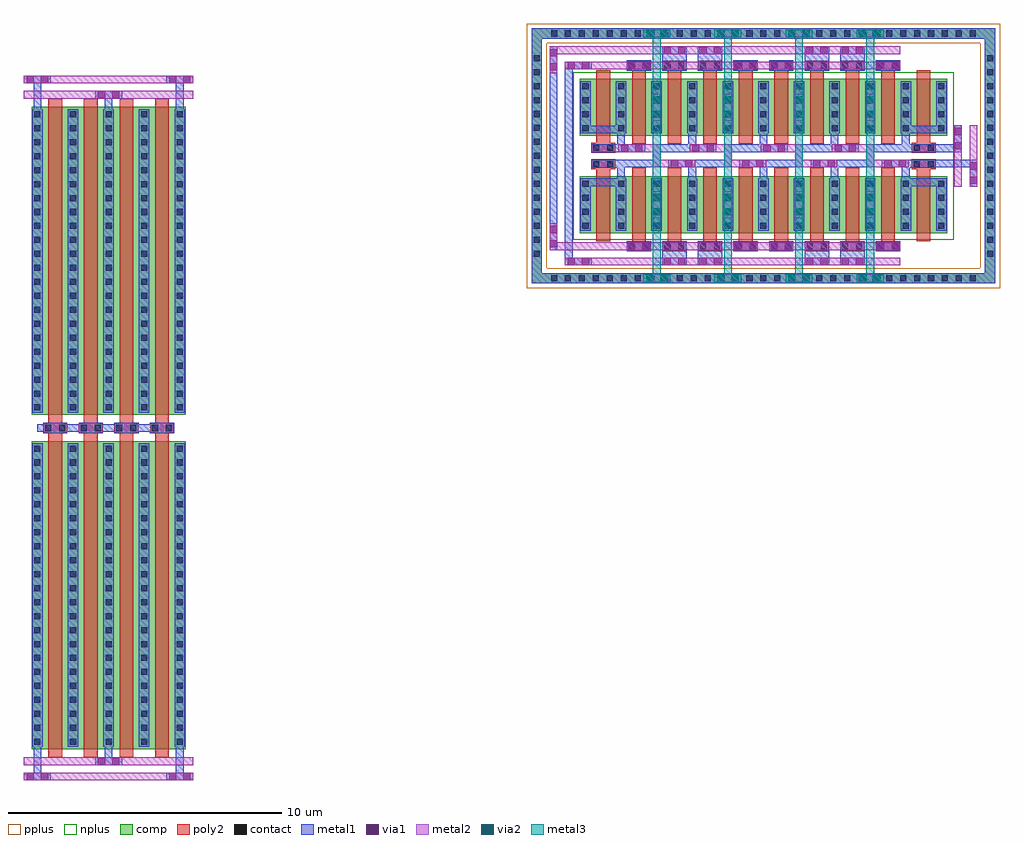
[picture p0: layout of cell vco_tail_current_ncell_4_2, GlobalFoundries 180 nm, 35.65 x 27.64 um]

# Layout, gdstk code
from math import pi, radians
import gdstk
lib = gdstk.Library(unit=1e-6, precision=5e-09)
def R(c, l, rs):  # rectangles x0, y0, x1, y1
    for r in rs: c.add(gdstk.rectangle(r[:2], r[2:], *l))
def A(c, l, x, y, w, h, nx, ny, dx, dy):  # array of equal rectangles
    R(c, l, [(x+i*dx, y+j*dy, x+i*dx+w, y+j*dy+h) for i in range(nx) for j in range(ny)])
comp = (22, 0)
poly2 = (30, 0)
pplus = (31, 0)
nplus = (32, 0)
contact = (33, 0)
metal1 = (34, 0)
via1 = (35, 0)
metal2 = (36, 0)
via2 = (38, 0)
metal3 = (42, 0)

delay_stage_ncell_1_1_1_ = lib.new_cell('delay_stage_ncell_1$1$1$1')
R(delay_stage_ncell_1_1_1_, comp, [(0,0.3,0.42,2.38), (0.42,0.3,1.3,2.38), (1.3,0.3,1.72,2.38)])
R(delay_stage_ncell_1_1_1_, poly2, [(0.61,0,1.11,2.68)])
A(delay_stage_ncell_1_1_1_, contact, 0.1, 0.465, 0.22, 0.22, 1, 4, 0, 0.51)
A(delay_stage_ncell_1_1_1_, contact, 1.4, 0.465, 0.22, 0.22, 1, 4, 0, 0.51)
R(delay_stage_ncell_1_1_1_, metal1, [(0.02,0.385,0.4,2.295), (1.32,0.385,1.7,2.295)])

delay_stage_ncell_1_2_1 = lib.new_cell('delay_stage_ncell_1_2$1')
R(delay_stage_ncell_1_2_1, poly2, [(0.425,3.01,1.295,3.37), (0.425,3.61,1.295,3.97)])
R(delay_stage_ncell_1_2_1, contact, [(0.495,3.08,0.715,3.3), (1.005,3.08,1.225,3.3), (0.495,3.68,0.715,3.9), (1.005,3.68,1.225,3.9)])
R(delay_stage_ncell_1_2_1, metal1, [(0.21,3.065,1.295,3.07), (0.21,3.91,1.295,3.915)])
delay_stage_ncell_1_2_1.add(gdstk.FlexPath([(0.4,2.525),(1.32,2.525)], 0.28, ends="flush", simple_path=True, layer=34, datatype=0))  # metal1
delay_stage_ncell_1_2_1.add(gdstk.FlexPath([(1.295,3.21),(0.21,3.21)], 0.28, ends="flush", simple_path=True, layer=34, datatype=0))  # metal1
delay_stage_ncell_1_2_1.add(gdstk.FlexPath([(0.4,4.455),(1.32,4.455)], 0.28, ends="flush", simple_path=True, layer=34, datatype=0))  # metal1
delay_stage_ncell_1_2_1.add(gdstk.FlexPath([(1.295,3.77),(0.21,3.77)], 0.28, ends="flush", simple_path=True, layer=34, datatype=0))  # metal1
delay_stage_ncell_1_2_1.add(gdstk.Reference(delay_stage_ncell_1_1_1_, (0,3.93)))
delay_stage_ncell_1_2_1.add(gdstk.Reference(delay_stage_ncell_1_1_1_, (0,3.05), x_reflection=True))

delay_stage_ncell_1_1_2_ = lib.new_cell('delay_stage_ncell_1$1$2$1')
R(delay_stage_ncell_1_1_2_, comp, [(0,0.3,0.42,2.38), (0.42,0.3,1.3,2.38), (1.3,0.3,1.72,2.38)])
R(delay_stage_ncell_1_1_2_, poly2, [(0.61,0,1.11,2.68)])
A(delay_stage_ncell_1_1_2_, contact, 0.1, 0.465, 0.22, 0.22, 1, 4, 0, 0.51)
A(delay_stage_ncell_1_1_2_, contact, 1.4, 0.465, 0.22, 0.22, 1, 4, 0, 0.51)
R(delay_stage_ncell_1_1_2_, metal1, [(0.02,0.385,0.4,2.295), (1.32,0.385,1.7,2.295)])

delay_stage_ncell_4_1_1 = lib.new_cell('delay_stage_ncell_4$1$1')
A(delay_stage_ncell_4_1_1, poly2, 0.425, 2.675, 0.87, 0.36, 4, 1, 1.3, 0)
R(delay_stage_ncell_4_1_1, contact, [(0.495,2.745,0.715,2.965), (1.005,2.745,1.225,2.965), (1.795,2.745,2.015,2.965), (2.305,2.745,2.525,2.965), (3.095,2.745,3.315,2.965), (3.605,2.745,3.825,2.965), (4.395,2.745,4.615,2.965), (4.905,2.745,5.125,2.965)])
A(delay_stage_ncell_4_1_1, metal1, 0.415, 2.665, 0.89, 0.38, 4, 1, 1.3, 0)
delay_stage_ncell_4_1_1.add(gdstk.Reference(delay_stage_ncell_1_1_2_, (0,-0.005)))
delay_stage_ncell_4_1_1.add(gdstk.Reference(delay_stage_ncell_1_1_2_, (1.3,-0.005)))
delay_stage_ncell_4_1_1.add(gdstk.Reference(delay_stage_ncell_1_1_2_, (2.6,-0.005)))
delay_stage_ncell_4_1_1.add(gdstk.Reference(delay_stage_ncell_1_1_2_, (3.9,-0.005)))

delay_stage_ncell_4_2_1 = lib.new_cell('delay_stage_ncell_4_2$1')
R(delay_stage_ncell_4_2_1, metal1, [(1.715,0,2.605,0.51), (3.015,0,3.905,0.51), (1.715,7.49,2.605,8), (3.015,7.49,3.905,8)])
R(delay_stage_ncell_4_2_1, via1, [(1.77,0.01,2.03,0.27), (2.29,0.01,2.55,0.27), (3.07,0.01,3.33,0.27), (3.59,0.01,3.85,0.27), (0.47,0.57,0.73,0.83), (0.99,0.57,1.25,0.83), (4.37,0.57,4.63,0.83), (4.89,0.57,5.15,0.83), (1.38,1.83,1.64,2.09), (3.98,1.83,4.24,2.09), (1.38,2.35,1.64,2.61), (3.98,2.35,4.24,2.61), (2.03,3.59,2.29,3.85), (2.55,3.59,2.81,3.85), (4.63,3.59,4.89,3.85), (5.15,3.59,5.41,3.85), (0.21,4.15,0.47,4.41), (0.73,4.15,0.99,4.41), (2.81,4.15,3.07,4.41), (3.33,4.15,3.59,4.41), (1.38,5.39,1.64,5.65), (3.98,5.39,4.24,5.65), (1.38,5.91,1.64,6.17), (3.98,5.91,4.24,6.17), (0.47,7.17,0.73,7.43), (0.99,7.17,1.25,7.43), (4.37,7.17,4.63,7.43), (4.89,7.17,5.15,7.43), (1.77,7.73,2.03,7.99), (2.29,7.73,2.55,7.99), (3.07,7.73,3.33,7.99), (3.59,7.73,3.85,7.99)])
R(delay_stage_ncell_4_2_1, via2, [(1.38,1.83,1.64,2.09), (3.98,1.83,4.24,2.09), (1.38,2.35,1.64,2.61), (3.98,2.35,4.24,2.61), (1.38,5.39,1.64,5.65), (3.98,5.39,4.24,5.65), (1.38,5.91,1.64,6.17), (3.98,5.91,4.24,6.17)])
delay_stage_ncell_4_2_1.add(gdstk.FlexPath([(2.81,4.825),(2.81,4.42)], 0.28, ends="flush", simple_path=True, layer=34, datatype=0))  # metal1
delay_stage_ncell_4_2_1.add(gdstk.FlexPath([(2.81,3.175),(2.81,3.58)], 0.28, ends="flush", simple_path=True, layer=34, datatype=0))  # metal1
delay_stage_ncell_4_2_1.add(gdstk.FlexPath([(0.21,3.175),(0.21,3.58)], 0.28, ends="flush", simple_path=True, layer=34, datatype=0))  # metal1
delay_stage_ncell_4_2_1.add(gdstk.FlexPath([(0.21,4.825),(0.21,4.42)], 0.28, ends="flush", simple_path=True, layer=34, datatype=0))  # metal1
delay_stage_ncell_4_2_1.add(gdstk.FlexPath([(2.91,4.28),(1.51,4.28),(1.51,3.72),(0.07,3.72)], 0.28, ends="flush", simple_path=True, layer=34, datatype=0))  # metal1
delay_stage_ncell_4_2_1.add(gdstk.FlexPath([(1.09,4.28),(0.07,4.28)], 0.28, ends="flush", simple_path=True, layer=34, datatype=0))  # metal1
delay_stage_ncell_4_2_1.add(gdstk.FlexPath([(5.41,3.175),(5.41,3.58)], 0.28, ends="flush", simple_path=True, layer=34, datatype=0))  # metal1
delay_stage_ncell_4_2_1.add(gdstk.FlexPath([(5.55,4.28),(4.11,4.28),(4.11,3.72),(2.71,3.72)], 0.28, ends="flush", simple_path=True, layer=34, datatype=0))  # metal1
delay_stage_ncell_4_2_1.add(gdstk.FlexPath([(3.69,4.28),(2.71,4.28)], 0.28, ends="flush", simple_path=True, layer=34, datatype=0))  # metal1
delay_stage_ncell_4_2_1.add(gdstk.FlexPath([(5.41,4.825),(5.41,4.42)], 0.28, ends="flush", simple_path=True, layer=34, datatype=0))  # metal1
delay_stage_ncell_4_2_1.add(gdstk.FlexPath([(2.81,3.175),(2.81,3.58)], 0.28, ends="flush", simple_path=True, layer=34, datatype=0))  # metal1
delay_stage_ncell_4_2_1.add(gdstk.FlexPath([(5.55,3.72),(4.53,3.72)], 0.28, ends="flush", simple_path=True, layer=34, datatype=0))  # metal1
delay_stage_ncell_4_2_1.add(gdstk.FlexPath([(2.81,4.825),(2.81,4.42)], 0.28, ends="flush", simple_path=True, layer=34, datatype=0))  # metal1
delay_stage_ncell_4_2_1.add(gdstk.FlexPath([(2.91,3.72),(1.93,3.72)], 0.28, ends="flush", simple_path=True, layer=34, datatype=0))  # metal1
delay_stage_ncell_4_2_1.add(gdstk.FlexPath([(5.41,7.3),(0.405,7.3)], 0.28, ends="flush", simple_path=True, layer=36, datatype=0))  # metal2
delay_stage_ncell_4_2_1.add(gdstk.FlexPath([(5.41,7.86),(0.405,7.86)], 0.28, ends="flush", simple_path=True, layer=36, datatype=0))  # metal2
delay_stage_ncell_4_2_1.add(gdstk.FlexPath([(5.41,0.7),(0.405,0.7)], 0.28, ends="flush", simple_path=True, layer=36, datatype=0))  # metal2
delay_stage_ncell_4_2_1.add(gdstk.FlexPath([(5.41,0.14),(0.405,0.14)], 0.28, ends="flush", simple_path=True, layer=36, datatype=0))  # metal2
delay_stage_ncell_4_2_1.add(gdstk.FlexPath([(4.11,5.29),(4.11,6.27)], 0.28, ends="flush", simple_path=True, layer=36, datatype=0))  # metal2
delay_stage_ncell_4_2_1.add(gdstk.FlexPath([(1.51,5.29),(1.51,6.27)], 0.28, ends="flush", simple_path=True, layer=36, datatype=0))  # metal2
delay_stage_ncell_4_2_1.add(gdstk.FlexPath([(4.11,1.73),(4.11,2.71)], 0.28, ends="flush", simple_path=True, layer=36, datatype=0))  # metal2
delay_stage_ncell_4_2_1.add(gdstk.FlexPath([(1.51,1.73),(1.51,2.71)], 0.28, ends="flush", simple_path=True, layer=36, datatype=0))  # metal2
delay_stage_ncell_4_2_1.add(gdstk.FlexPath([(2.91,3.72),(1.51,3.72),(1.51,4.28),(0.11,4.28)], 0.28, ends="flush", simple_path=True, layer=36, datatype=0))  # metal2
delay_stage_ncell_4_2_1.add(gdstk.FlexPath([(5.51,3.72),(4.11,3.72),(4.11,4.28),(2.71,4.28)], 0.28, ends="flush", simple_path=True, layer=36, datatype=0))  # metal2
delay_stage_ncell_4_2_1.add(gdstk.FlexPath([(4.11,5.29),(4.11,6.27)], 0.28, ends="flush", simple_path=True, layer=42, datatype=0))  # metal3
delay_stage_ncell_4_2_1.add(gdstk.FlexPath([(1.51,5.29),(1.51,6.27)], 0.28, ends="flush", simple_path=True, layer=42, datatype=0))  # metal3
delay_stage_ncell_4_2_1.add(gdstk.FlexPath([(4.11,1.73),(4.11,2.71)], 0.28, ends="flush", simple_path=True, layer=42, datatype=0))  # metal3
delay_stage_ncell_4_2_1.add(gdstk.FlexPath([(1.51,1.73),(1.51,2.71)], 0.28, ends="flush", simple_path=True, layer=42, datatype=0))  # metal3
delay_stage_ncell_4_2_1.add(gdstk.Reference(delay_stage_ncell_4_1_1, (0,4.445)))
delay_stage_ncell_4_2_1.add(gdstk.Reference(delay_stage_ncell_4_1_1, (0,3.555), x_reflection=True))

delay_stage_ncell_top = lib.new_cell('delay_stage_ncell_top')
R(delay_stage_ncell_top, nplus, [(1.69,1.77,15.59,7.89)])
A(delay_stage_ncell_top, contact, 0.88, 0.25, 0.22, 0.22, 31, 2, 0.51, 8.94)
A(delay_stage_ncell_top, contact, 0.25, 1.15, 0.22, 0.22, 1, 15, 0, 0.51)
A(delay_stage_ncell_top, contact, 16.81, 1.15, 0.22, 0.22, 1, 15, 0, 0.51)
R(delay_stage_ncell_top, via1, [(4.35,0.23,4.61,0.49), (4.87,0.23,5.13,0.49), (6.95,0.23,7.21,0.49), (7.47,0.23,7.73,0.49), (9.55,0.23,9.81,0.49), (10.07,0.23,10.33,0.49), (12.15,0.23,12.41,0.49), (12.67,0.23,12.93,0.49), (1.49,0.84,1.75,1.1), (1.49,0.84,1.75,1.1), (2.01,0.84,2.27,1.1), (2.01,0.84,2.27,1.1), (0.84,1.49,1.1,1.75), (0.84,1.49,1.1,1.75), (0.84,2.01,1.1,2.27), (0.84,2.01,1.1,2.27), (16.18,3.81,16.44,4.07), (16.18,3.81,16.44,4.07), (16.18,4.33,16.44,4.59), (16.18,4.33,16.44,4.59), (15.62,5.07,15.88,5.33), (15.62,5.07,15.88,5.33), (15.62,5.59,15.88,5.85), (15.62,5.59,15.88,5.85), (0.84,7.95,1.1,8.21), (0.84,7.95,1.1,8.21), (1.49,8,1.75,8.26), (1.49,8,1.75,8.26), (2.01,8,2.27,8.26), (2.01,8,2.27,8.26), (0.84,8.47,1.1,8.73), (0.84,8.47,1.1,8.73), (4.35,9.17,4.61,9.43), (4.87,9.17,5.13,9.43), (6.95,9.17,7.21,9.43), (7.47,9.17,7.73,9.43), (9.55,9.17,9.81,9.43), (10.07,9.17,10.33,9.43), (12.15,9.17,12.41,9.43), (12.67,9.17,12.93,9.43)])
R(delay_stage_ncell_top, via2, [(4.35,0.23,4.61,0.49), (4.87,0.23,5.13,0.49), (6.95,0.23,7.21,0.49), (7.47,0.23,7.73,0.49), (9.55,0.23,9.81,0.49), (10.07,0.23,10.33,0.49), (12.15,0.23,12.41,0.49), (12.67,0.23,12.93,0.49), (4.35,9.17,4.61,9.43), (4.87,9.17,5.13,9.43), (6.95,9.17,7.21,9.43), (7.47,9.17,7.73,9.43), (9.55,9.17,9.81,9.43), (10.07,9.17,10.33,9.43), (12.15,9.17,12.41,9.43), (12.67,9.17,12.93,9.43)])
delay_stage_ncell_top.add(gdstk.FlexPath([(16.92,9.49),(16.92,0.36),(0.36,0.36),(0.36,9.3),(16.73,9.3)], 0.38, ends="flush", simple_path=True, layer=34, datatype=0))  # metal1
delay_stage_ncell_top.add(gdstk.FlexPath([(13.98,4.55),(16.17,4.55)], 0.28, ends="flush", simple_path=True, layer=34, datatype=0))  # metal1
delay_stage_ncell_top.add(gdstk.FlexPath([(13.98,5.11),(15.61,5.11)], 0.28, ends="flush", simple_path=True, layer=34, datatype=0))  # metal1
delay_stage_ncell_top.add(gdstk.FlexPath([(16.31,3.71),(16.31,4.69)], 0.28, ends="flush", simple_path=True, layer=34, datatype=0))  # metal1
delay_stage_ncell_top.add(gdstk.FlexPath([(16.31,3.71),(16.31,4.69)], 0.28, ends="flush", simple_path=True, layer=34, datatype=0))  # metal1
delay_stage_ncell_top.add(gdstk.FlexPath([(15.75,4.97),(15.75,5.95)], 0.28, ends="flush", simple_path=True, layer=34, datatype=0))  # metal1
delay_stage_ncell_top.add(gdstk.FlexPath([(15.75,4.97),(15.75,5.95)], 0.28, ends="flush", simple_path=True, layer=34, datatype=0))  # metal1
delay_stage_ncell_top.add(gdstk.FlexPath([(0.97,1.39),(0.97,8.83)], 0.28, ends="flush", simple_path=True, layer=34, datatype=0))  # metal1
delay_stage_ncell_top.add(gdstk.FlexPath([(1.53,1.11),(1.53,8.27)], 0.28, ends="flush", simple_path=True, layer=34, datatype=0))  # metal1
delay_stage_ncell_top.add(gdstk.FlexPath([(0.97,7.85),(0.97,8.83)], 0.28, ends="flush", simple_path=True, layer=34, datatype=0))  # metal1
delay_stage_ncell_top.add(gdstk.FlexPath([(1.39,8.13),(2.37,8.13)], 0.28, ends="flush", simple_path=True, layer=34, datatype=0))  # metal1
delay_stage_ncell_top.add(gdstk.FlexPath([(1.39,0.97),(2.37,0.97)], 0.28, ends="flush", simple_path=True, layer=34, datatype=0))  # metal1
delay_stage_ncell_top.add(gdstk.FlexPath([(0.97,2.37),(0.97,1.39)], 0.28, ends="flush", simple_path=True, layer=34, datatype=0))  # metal1
delay_stage_ncell_top.add(gdstk.FlexPath([(16.92,9.49),(16.92,0.36),(0.36,0.36),(0.36,9.3),(16.73,9.3)], 0.38, ends="flush", simple_path=True, layer=22, datatype=0))  # comp
delay_stage_ncell_top.add(gdstk.FlexPath([(15.75,3.71),(15.75,5.95)], 0.28, ends="flush", simple_path=True, layer=36, datatype=0))  # metal2
delay_stage_ncell_top.add(gdstk.FlexPath([(16.31,3.71),(16.31,5.95)], 0.28, ends="flush", simple_path=True, layer=36, datatype=0))  # metal2
delay_stage_ncell_top.add(gdstk.FlexPath([(12.05,0.36),(13.03,0.36)], 0.28, ends="flush", simple_path=True, layer=36, datatype=0))  # metal2
delay_stage_ncell_top.add(gdstk.FlexPath([(12.05,9.3),(13.03,9.3)], 0.28, ends="flush", simple_path=True, layer=36, datatype=0))  # metal2
delay_stage_ncell_top.add(gdstk.FlexPath([(9.45,0.36),(10.43,0.36)], 0.28, ends="flush", simple_path=True, layer=36, datatype=0))  # metal2
delay_stage_ncell_top.add(gdstk.FlexPath([(9.45,9.3),(10.43,9.3)], 0.28, ends="flush", simple_path=True, layer=36, datatype=0))  # metal2
delay_stage_ncell_top.add(gdstk.FlexPath([(6.85,0.36),(7.83,0.36)], 0.28, ends="flush", simple_path=True, layer=36, datatype=0))  # metal2
delay_stage_ncell_top.add(gdstk.FlexPath([(6.85,9.3),(7.83,9.3)], 0.28, ends="flush", simple_path=True, layer=36, datatype=0))  # metal2
delay_stage_ncell_top.add(gdstk.FlexPath([(4.25,0.36),(5.23,0.36)], 0.28, ends="flush", simple_path=True, layer=36, datatype=0))  # metal2
delay_stage_ncell_top.add(gdstk.FlexPath([(4.25,9.3),(5.23,9.3)], 0.28, ends="flush", simple_path=True, layer=36, datatype=0))  # metal2
delay_stage_ncell_top.add(gdstk.FlexPath([(3.635,1.53),(0.83,1.53)], 0.28, ends="flush", simple_path=True, layer=36, datatype=0))  # metal2
delay_stage_ncell_top.add(gdstk.FlexPath([(3.635,0.97),(2.37,0.97)], 0.28, ends="flush", simple_path=True, layer=36, datatype=0))  # metal2
delay_stage_ncell_top.add(gdstk.FlexPath([(3.635,8.13),(1.67,8.13)], 0.28, ends="flush", simple_path=True, layer=36, datatype=0))  # metal2
delay_stage_ncell_top.add(gdstk.FlexPath([(3.635,8.69),(1.11,8.69)], 0.28, ends="flush", simple_path=True, layer=36, datatype=0))  # metal2
delay_stage_ncell_top.add(gdstk.FlexPath([(0.97,7.85),(0.97,8.83)], 0.28, ends="flush", simple_path=True, layer=36, datatype=0))  # metal2
delay_stage_ncell_top.add(gdstk.FlexPath([(1.39,8.13),(2.37,8.13)], 0.28, ends="flush", simple_path=True, layer=36, datatype=0))  # metal2
delay_stage_ncell_top.add(gdstk.FlexPath([(1.39,0.97),(2.37,0.97)], 0.28, ends="flush", simple_path=True, layer=36, datatype=0))  # metal2
delay_stage_ncell_top.add(gdstk.FlexPath([(0.97,2.37),(0.97,1.39)], 0.28, ends="flush", simple_path=True, layer=36, datatype=0))  # metal2
delay_stage_ncell_top.add(gdstk.FlexPath([(12.05,0.36),(13.03,0.36)], 0.28, ends="flush", simple_path=True, layer=42, datatype=0))  # metal3
delay_stage_ncell_top.add(gdstk.FlexPath([(12.05,9.3),(13.03,9.3)], 0.28, ends="flush", simple_path=True, layer=42, datatype=0))  # metal3
delay_stage_ncell_top.add(gdstk.FlexPath([(12.54,9.16),(12.54,0.5)], 0.28, ends="flush", simple_path=True, layer=42, datatype=0))  # metal3
delay_stage_ncell_top.add(gdstk.FlexPath([(9.45,0.36),(10.43,0.36)], 0.28, ends="flush", simple_path=True, layer=42, datatype=0))  # metal3
delay_stage_ncell_top.add(gdstk.FlexPath([(9.45,9.3),(10.43,9.3)], 0.28, ends="flush", simple_path=True, layer=42, datatype=0))  # metal3
delay_stage_ncell_top.add(gdstk.FlexPath([(9.94,9.16),(9.94,0.5)], 0.28, ends="flush", simple_path=True, layer=42, datatype=0))  # metal3
delay_stage_ncell_top.add(gdstk.FlexPath([(6.85,0.36),(7.83,0.36)], 0.28, ends="flush", simple_path=True, layer=42, datatype=0))  # metal3
delay_stage_ncell_top.add(gdstk.FlexPath([(6.85,9.3),(7.83,9.3)], 0.28, ends="flush", simple_path=True, layer=42, datatype=0))  # metal3
delay_stage_ncell_top.add(gdstk.FlexPath([(7.34,9.16),(7.34,0.5)], 0.28, ends="flush", simple_path=True, layer=42, datatype=0))  # metal3
delay_stage_ncell_top.add(gdstk.FlexPath([(4.25,0.36),(5.23,0.36)], 0.28, ends="flush", simple_path=True, layer=42, datatype=0))  # metal3
delay_stage_ncell_top.add(gdstk.FlexPath([(4.25,9.3),(5.23,9.3)], 0.28, ends="flush", simple_path=True, layer=42, datatype=0))  # metal3
delay_stage_ncell_top.add(gdstk.FlexPath([(4.74,9.16),(4.74,0.5)], 0.28, ends="flush", simple_path=True, layer=42, datatype=0))  # metal3
delay_stage_ncell_top.add(gdstk.FlexPath([(16.92,9.66),(16.92,0.36),(0.36,0.36),(0.36,9.3),(17.28,9.3)], 0.72, ends="flush", simple_path=True, layer=31, datatype=0))  # pplus
delay_stage_ncell_top.add(gdstk.Reference(delay_stage_ncell_1_2_1, (13.63,1.34)))
delay_stage_ncell_top.add(gdstk.Reference(delay_stage_ncell_1_2_1, (3.65,1.34), rotation=pi, x_reflection=True))
delay_stage_ncell_top.add(gdstk.Reference(delay_stage_ncell_4_2_1, (3.23,0.83)))
delay_stage_ncell_top.add(gdstk.Reference(delay_stage_ncell_4_2_1, (14.05,8.83), rotation=pi))

vco_tail_current_ncell_1 = lib.new_cell('vco_tail_current_ncell_1$1')
R(vco_tail_current_ncell_1, comp, [(0,0.3,0.42,11.55), (0.42,0.3,1.3,11.55), (1.3,0.3,1.72,11.55)])
R(vco_tail_current_ncell_1, poly2, [(0.61,0,1.11,11.85)])
A(vco_tail_current_ncell_1, contact, 0.1, 0.46, 0.22, 0.22, 1, 22, 0, 0.51)
A(vco_tail_current_ncell_1, contact, 1.4, 0.46, 0.22, 0.22, 1, 22, 0, 0.51)
R(vco_tail_current_ncell_1, metal1, [(0.02,0.38,0.4,11.47), (1.32,0.38,1.7,11.47)])

vco_tail_current_ncell_4 = lib.new_cell('vco_tail_current_ncell_4')
A(vco_tail_current_ncell_4, poly2, 0.425, 11.85, 0.87, 0.36, 4, 1, 1.3, 0)
R(vco_tail_current_ncell_4, contact, [(0.495,11.92,0.715,12.14), (1.005,11.92,1.225,12.14), (1.795,11.92,2.015,12.14), (2.305,11.92,2.525,12.14), (3.095,11.92,3.315,12.14), (3.605,11.92,3.825,12.14), (4.395,11.92,4.615,12.14), (4.905,11.92,5.125,12.14)])
A(vco_tail_current_ncell_4, metal1, 0.415, 11.84, 0.89, 0.38, 4, 1, 1.3, 0)
vco_tail_current_ncell_4.add(gdstk.Reference(vco_tail_current_ncell_1, (0,0)))
vco_tail_current_ncell_4.add(gdstk.Reference(vco_tail_current_ncell_1, (1.3,0)))
vco_tail_current_ncell_4.add(gdstk.Reference(vco_tail_current_ncell_1, (2.6,0)))
vco_tail_current_ncell_4.add(gdstk.Reference(vco_tail_current_ncell_1, (3.9,0)))

c_vco_tail_current_ncell_4 = lib.new_cell('vco_tail_current_ncell_4_2')
R(c_vco_tail_current_ncell_4, via1, [(0.1,0.01,0.36,0.27), (0.62,0.01,0.88,0.27), (5.3,0.01,5.56,0.27), (5.82,0.01,6.08,0.27), (2.7,0.57,2.96,0.83), (3.22,0.57,3.48,0.83), (2.7,24.91,2.96,25.17), (3.22,24.91,3.48,25.17), (0.1,25.47,0.36,25.73), (0.62,25.47,0.88,25.73), (5.3,25.47,5.56,25.73), (5.82,25.47,6.08,25.73)])
c_vco_tail_current_ncell_4.add(gdstk.FlexPath([(2.6,25.04),(3.58,25.04)], 0.28, ends="flush", simple_path=True, layer=34, datatype=0))  # metal1
c_vco_tail_current_ncell_4.add(gdstk.FlexPath([(3.09,24.52),(3.09,24.9)], 0.28, ends="flush", simple_path=True, layer=34, datatype=0))  # metal1
c_vco_tail_current_ncell_4.add(gdstk.FlexPath([(5.2,25.6),(6.18,25.6)], 0.28, ends="flush", simple_path=True, layer=34, datatype=0))  # metal1
c_vco_tail_current_ncell_4.add(gdstk.FlexPath([(5.69,24.52),(5.69,25.46)], 0.28, ends="flush", simple_path=True, layer=34, datatype=0))  # metal1
c_vco_tail_current_ncell_4.add(gdstk.FlexPath([(0,25.6),(0.98,25.6)], 0.28, ends="flush", simple_path=True, layer=34, datatype=0))  # metal1
c_vco_tail_current_ncell_4.add(gdstk.FlexPath([(0.49,24.52),(0.49,25.46)], 0.28, ends="flush", simple_path=True, layer=34, datatype=0))  # metal1
c_vco_tail_current_ncell_4.add(gdstk.FlexPath([(2.6,0.7),(3.58,0.7)], 0.28, ends="flush", simple_path=True, layer=34, datatype=0))  # metal1
c_vco_tail_current_ncell_4.add(gdstk.FlexPath([(3.09,1.22),(3.09,0.84)], 0.28, ends="flush", simple_path=True, layer=34, datatype=0))  # metal1
c_vco_tail_current_ncell_4.add(gdstk.FlexPath([(5.2,0.14),(6.18,0.14)], 0.28, ends="flush", simple_path=True, layer=34, datatype=0))  # metal1
c_vco_tail_current_ncell_4.add(gdstk.FlexPath([(5.69,1.22),(5.69,0.28)], 0.28, ends="flush", simple_path=True, layer=34, datatype=0))  # metal1
c_vco_tail_current_ncell_4.add(gdstk.FlexPath([(0,0.14),(0.98,0.14)], 0.28, ends="flush", simple_path=True, layer=34, datatype=0))  # metal1
c_vco_tail_current_ncell_4.add(gdstk.FlexPath([(0.49,1.22),(0.49,0.28)], 0.28, ends="flush", simple_path=True, layer=34, datatype=0))  # metal1
c_vco_tail_current_ncell_4.add(gdstk.FlexPath([(4.595,12.87),(0.49,12.87)], 0.28, ends="flush", simple_path=True, layer=34, datatype=0))  # metal1
c_vco_tail_current_ncell_4.add(gdstk.FlexPath([(0,25.04),(6.18,25.04)], 0.28, ends="flush", simple_path=True, layer=36, datatype=0))  # metal2
c_vco_tail_current_ncell_4.add(gdstk.FlexPath([(0,25.6),(6.18,25.6)], 0.28, ends="flush", simple_path=True, layer=36, datatype=0))  # metal2
c_vco_tail_current_ncell_4.add(gdstk.FlexPath([(0,0.7),(6.18,0.7)], 0.28, ends="flush", simple_path=True, layer=36, datatype=0))  # metal2
c_vco_tail_current_ncell_4.add(gdstk.FlexPath([(0,0.14),(6.18,0.14)], 0.28, ends="flush", simple_path=True, layer=36, datatype=0))  # metal2
c_vco_tail_current_ncell_4.add(gdstk.Reference(delay_stage_ncell_top, (18.37,17.98)))
c_vco_tail_current_ncell_4.add(gdstk.Reference(vco_tail_current_ncell_4, (0.28,0.84)))
c_vco_tail_current_ncell_4.add(gdstk.Reference(vco_tail_current_ncell_4, (0.28,24.9), x_reflection=True))

lib.write_gds('vco_tail_current_ncell_4_2.gds')
